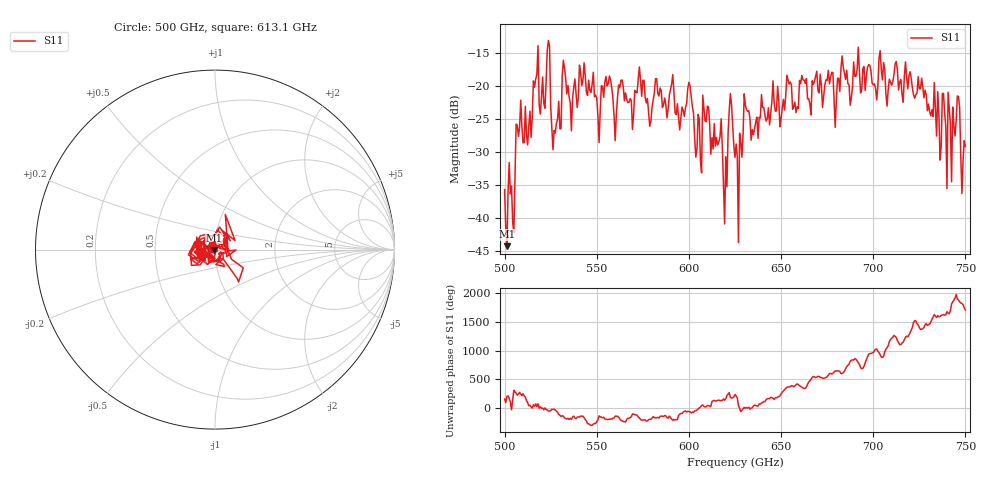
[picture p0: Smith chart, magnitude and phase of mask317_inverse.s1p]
!Created with skrf (http://scikit-rf.org).
# GHz S MA R 50.0
!freq magS11 angS11
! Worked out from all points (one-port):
!   401 points, 500 GHz to 750 GHz, reference 50 ohm
!   lowest |S11| = -44.3 dB at 501.2 GHz (marker M1), VSWR 1.01, Z = 49.4 - j0.194 ohm
!   |S11| at or under -10 dB: start of sweep to end of sweep
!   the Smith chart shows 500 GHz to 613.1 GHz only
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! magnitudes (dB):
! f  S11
! 500 GHz  -35.7
! 501.2 GHz  -44.3
! 504.4 GHz  -40.6
! 507.5 GHz  -27.6
! 513.1 GHz  -26.0
! 516.9 GHz  -18.9
! 520.6 GHz  -18.6
! 523.8 GHz  -13.0
! 526.9 GHz  -26.7
! 531.2 GHz  -18.5
! 541.9 GHz  -19.9
! 550.6 GHz  -24.4
! 556.2 GHz  -19.6
! 560 GHz  -28.2
! 562.5 GHz  -20.2
! 593.8 GHz  -22.6
! 600.6 GHz  -19.9
! 605.6 GHz  -25.0
! 608.8 GHz  -25.2
! 619.4 GHz  -40.9
! 622.5 GHz  -21.1
! 625 GHz  -30.8
! 627.5 GHz  -27.1
! 631.2 GHz  -23.5
! 656.2 GHz  -23.5
! 687.5 GHz  -22.9
! 718.8 GHz  -20.4
! 750 GHz  -29.1
